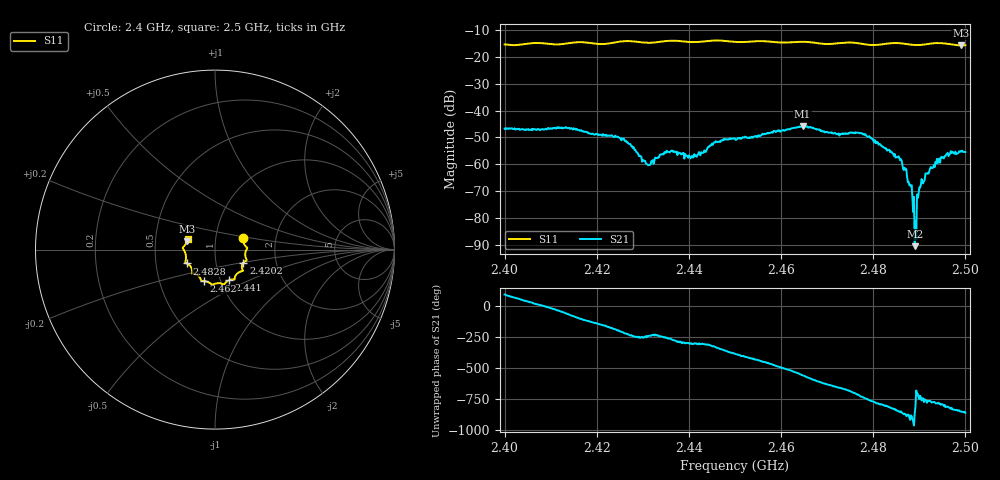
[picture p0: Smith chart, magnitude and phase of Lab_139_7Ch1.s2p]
# Hz S RI R 50
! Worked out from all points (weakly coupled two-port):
!   601 points, 2.4 GHz to 2.5 GHz, reference 50 ohm
!   highest |S21| = -45.76 dB at 2.4647 GHz (marker M1); lowest = -90.5 dB at 2.489 GHz (marker M2)
!   lowest |S11| = -15.8 dB at 2.499 GHz (marker M3), VSWR 1.39, Z = 36.4 + j3.53 ohm
!   |S11| at or under -10 dB: start of sweep to end of sweep
!   S12 and S22 are empty: the file has one direction only
!   S11 on the Smith chart (normalised r, x): 2.4 GHz: 1.36, +0.17; 2.4202 GHz: 1.36, -0.20; 2.441 GHz: 1.10, -0.39; 2.462 GHz: 0.83, -0.30; 2.4828 GHz: 0.72, -0.11; 2.5 GHz: 0.73, +0.09
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2.4e9  0.158 0.0618  -0.000361 0.0046  0 0  0 0
2.416667e9  0.1769 -0.0603  -0.00103 -0.00418  0 0  0 0
2.420167e9  0.158 -0.0721  -0.0028 -0.00238  0 0  0 0
2.426e9  0.156 -0.1172  -0.00218 0.00179  0 0  0 0
2.431167e9  0.1248 -0.1324  -0.000446 0.000848  0 0  0 0
2.433333e9  0.1115 -0.1512  -0.000764 0.00112  0 0  0 0
2.441e9  0.0781 -0.1702  0.000768 0.0011  0 0  0 0
2.45e9  0.0277 -0.1874  0.00272 -0.00122  0 0  0 0
2.462e9  -0.0609 -0.1757  -0.00415 -0.00166  0 0  0 0
2.464667e9  -0.0756 -0.1747  -0.00491 0.00155  0 0  0 0
2.466667e9  -0.0787 -0.1676  -0.00314 0.0036  0 0  0 0
2.477833e9  -0.1274 -0.1163  0.00342 -0.00107  0 0  0 0
2.482833e9  -0.1571 -0.0769  8.35e-05 -0.00197  0 0  0 0
2.483333e9  -0.1602 -0.0752  -0.000136 -0.00184  0 0  0 0
2.486667e9  -0.1638 -0.062  -0.000698 -0.000356  0 0  0 0
2.489e9  -0.1619 -0.0363  -2.57e-05 -1.54e-05  0 0  0 0
2.4895e9  -0.1625 -0.0297  0.000264 7.33e-05  0 0  0 0
2.49e9  -0.1641 -0.0233  0.000322 -0.000179  0 0  0 0
2.491833e9  -0.1727 -0.00321  0.000494 -0.000475  0 0  0 0
2.495667e9  -0.1758 0.0156  -0.000133 -0.00143  0 0  0 0
2.499e9  -0.1553 0.0472  -0.00112 -0.00129  0 0  0 0
2.5e9  -0.1525 0.0612  -0.00131 -0.00105  0 0  0 0
